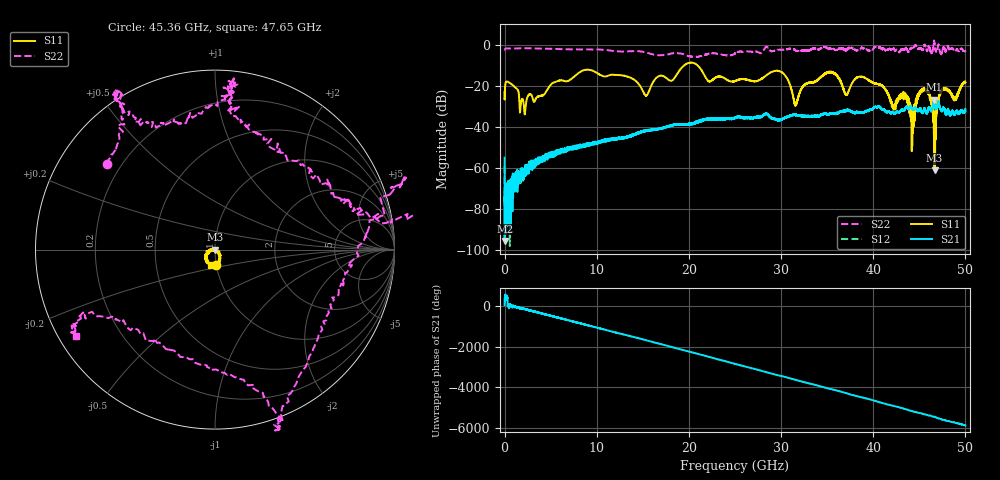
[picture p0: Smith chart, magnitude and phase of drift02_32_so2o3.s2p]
!Created with skrf (http://scikit-rf.org).
# Hz S RI R 50.0
!freq ReS11 ImS11 ReS21 ImS21 ReS12 ImS12 ReS22 ImS22
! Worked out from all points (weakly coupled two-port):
!   10001 points, 300 kHz to 50 GHz, reference 50 ohm
!   highest |S21| = -26.47 dB at 46.61 GHz (marker M1); lowest = -95.5 dB at 10.3 MHz (marker M2)
!   lowest |S11| = -61.0 dB at 46.65 GHz (marker M3), VSWR 1.00, Z = 50 - j0.0855 ohm
!   |S11| at or under -10 dB: start of sweep to 19.42 GHz; 21 GHz to end of sweep
!   |S22| runs from -5.7 to 2.5 dB; largest |S21 - S12| = 0.0036
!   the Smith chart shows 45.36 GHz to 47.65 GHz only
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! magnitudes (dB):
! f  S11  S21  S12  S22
! 300 kHz  -22.7  -54.8  -58.9  -2.1
! 10.3 MHz  -25.8  -95.5  -71.3  -2.1
! 270.3 MHz  -17.6  -72.0  -71.9  -1.4
! 2.19 GHz  -33.6  -61.1  -61.9  -1.3
! 8.335 GHz  -12.5  -49.5  -48.5  -1.9
! 15.34 GHz  -24.5  -41.7  -41.7  -3.4
! 16.67 GHz  -15.1  -40.8  -40.8  -4.7
! 20.3 GHz  -8.4  -38.6  -38.4  -5.5
! 25 GHz  -17.4  -35.4  -35.5  -3.9
! 29.85 GHz  -12.6  -36.4  -36.4  -2.0
! 31.6 GHz  -28.9  -33.8  -34.0  -2.5
! 33.34 GHz  -18.1  -34.5  -34.5  -1.6
! 35.58 GHz  -13.1  -33.3  -33.2  -1.6
! 37.1 GHz  -24.2  -31.8  -31.7  -2.3
! 38.78 GHz  -15.3  -32.8  -32.7  -1.0
! 41.67 GHz  -24.4  -32.0  -32.2  -1.9
! 44.25 GHz  -34.5  -31.0  -31.0  -1.4
! 45.7 GHz  -21.8  -32.2  -32.5  -0.8
! 46.61 GHz  -48.8  -26.5  -26.8  2.5
! 46.65 GHz  -61.0  -27.8  -27.9  0.7
! 47.48 GHz  -21.8  -31.3  -31.5  -3.3
! 50 GHz  -18.0  -31.1  -31.8  -2.7
